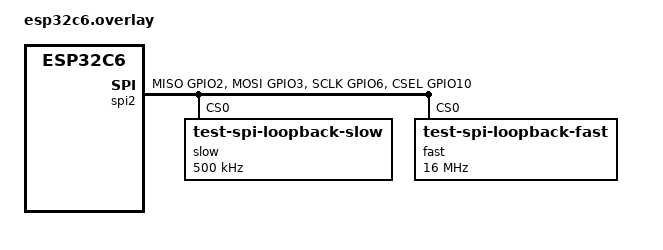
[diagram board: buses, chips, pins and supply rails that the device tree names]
/*
 * Copyright (c) 2022 Kumar Gala <galak@kernel.org>
 *
 * SPDX-License-Identifier: Apache-2.0
 */

&pinctrl {
	spim2_loopback: spim2_loopback {
		group1 {
			pinmux = <SPIM2_MISO_GPIO2>;
			output-enable; /* Connect GPIO2 and GPIO3 externally for testing */
		};
		group2 {
			pinmux = <SPIM2_MOSI_GPIO3>;
			input-enable; /* Connect GPIO2 and GPIO3 externally for testing */
		};
		group3 {
			pinmux = <SPIM2_SCLK_GPIO6>,
				<SPIM2_CSEL_GPIO10>;
		};
	};
};

&spi2 {
	slow@0 {
		compatible = "test-spi-loopback-slow";
		reg = <0>;
		spi-max-frequency = <500000>;
	};
	fast@0 {
		compatible = "test-spi-loopback-fast";
		reg = <0>;
		spi-max-frequency = <16000000>;
	};
};

&spi2 {
	#address-cells = <1>;
	#size-cells = <0>;
	dma-enabled;
	pinctrl-0 = <&spim2_loopback>;
	pinctrl-names = "default";
	status = "okay";
};
